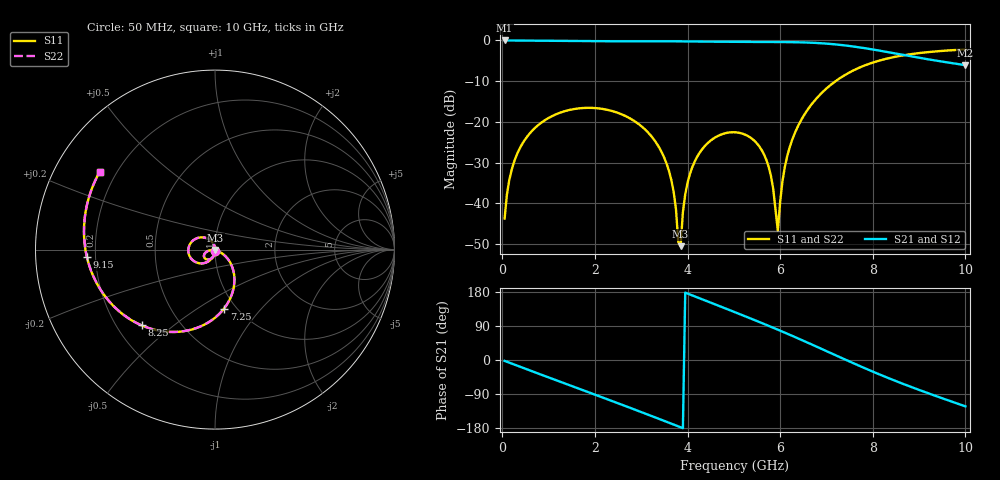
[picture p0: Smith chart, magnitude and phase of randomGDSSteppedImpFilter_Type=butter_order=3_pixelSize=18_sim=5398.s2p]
! freq	dB(S11)	phase(S11)	dB(S12)	phase(S12)
!  dB(S21)	phase(S21)	dB(S22)	phase(S22)
!S-par simulation data
#  GHz  S  DB  R 50
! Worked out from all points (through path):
!   200 points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, 50 MHz to 10 GHz, reference 50 ohm
!   highest |S21| = 0.00 dB at 50 MHz (marker M1); lowest = -6.1 dB at 10 GHz (marker M2)
!   group delay of S21, straight-line fit = 137 ps
!   lowest |S11| = -50.5 dB at 3.85 GHz (marker M3), VSWR 1.01, Z = 50.2 - j0.226 ohm
!   |S11| at or under -10 dB: start of sweep to 7.196 GHz
!   |S22| runs from -50.5 to -2.2 dB; largest |S21 - S12| = 0
!   S11 on the Smith chart (normalised r, x): 50 MHz: 1.00, -0.01; 7.25 GHz: 0.88, -0.65; 8.25 GHz: 0.30, -0.39; 9.15 GHz: 0.17, -0.03; 10 GHz: 0.14, +0.30
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0.05  -43.71 -90.8  -0.00 -2.4  -0.00 -2.4  -43.71 -90.8
0.2  -31.85 -99.2  -0.02 -9.3  -0.02 -9.3  -31.85 -99.2
0.5  -24.18 -113.7  -0.05 -23.1  -0.05 -23.1  -24.18 -113.7
1.75  -16.57 -171.0  -0.19 -80.0  -0.19 -80.0  -16.57 -171.0
2.55  -18.00 152.3  -0.20 -116.5  -0.20 -116.5  -18.00 152.3
3.4  -26.53 111.7  -0.20 -156.1  -0.20 -156.1  -26.53 111.7
3.65  -34.23 97.2  -0.21 -168.0  -0.21 -168.0  -34.23 97.2
3.85  -50.49 -48.9  -0.23 -177.5  -0.23 -177.5  -50.49 -48.8
3.95  -37.78 -85.1  -0.24 177.8  -0.24 177.8  -37.78 -85.0
4.15  -29.83 -98.8  -0.26 168.2  -0.26 168.2  -29.83 -98.8
5.05  -22.56 -142.9  -0.35 124.9  -0.35 124.9  -22.56 -142.9
5.7  -29.25 -170.4  -0.37 92.8  -0.37 92.8  -29.25 -170.2
5.85  -36.41 -168.0  -0.38 85.1  -0.38 85.1  -36.38 -167.6
5.95  -46.67 -88.1  -0.38 80.0  -0.38 80.0  -46.43 -88.7
6.05  -34.52 -29.6  -0.39 74.8  -0.39 74.8  -34.52 -30.1
6.15  -28.52 -27.7  -0.40 69.6  -0.40 69.6  -28.52 -28.0
6.7  -15.38 -51.7  -0.57 40.0  -0.57 40.0  -15.38 -51.8
7.25  -9.57 -81.2  -1.03 9.6  -1.03 9.6  -9.57 -81.3
8.25  -4.61 -134.1  -2.71 -43.4  -2.71 -43.4  -4.62 -134.2
8.35  -4.34 -139.1  -2.91 -48.3  -2.91 -48.3  -4.34 -139.1
9.15  -2.91 -176.7  -4.54 -85.7  -4.54 -85.7  -2.91 -176.8
10  -2.21 146.0  -6.06 -122.4  -6.06 -122.4  -2.21 145.9
